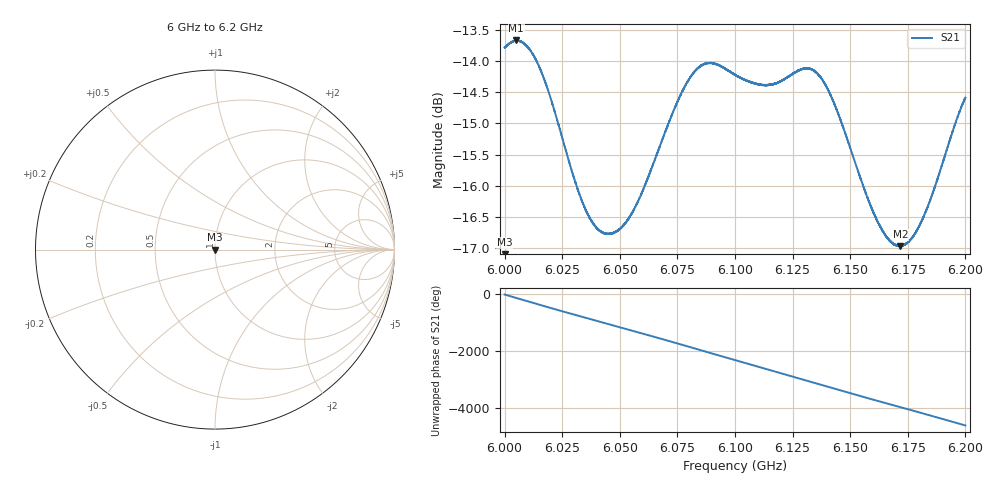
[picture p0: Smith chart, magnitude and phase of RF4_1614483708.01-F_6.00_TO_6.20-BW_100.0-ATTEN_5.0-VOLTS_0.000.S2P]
!Keysight Technologies,E5063A,MY54502693,A.05.04
!Date: Sat Feb 27 20:42:07 2021
!Data & Calibration Information:
!Freq	S11:NONE(--)	S21:NONE(--)	S12:NONE(--)	S22:NONE(--)
# Hz S RI R 50
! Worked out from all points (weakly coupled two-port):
!   10000 points, 6 GHz to 6.2 GHz, reference 50 ohm
!   highest |S21| = -13.67 dB at 6.005 GHz (marker M1); lowest = -17.0 dB at 6.1718 GHz (marker M2)
!   lowest |S11| = - dB at 6 GHz (marker M3), VSWR 1.00, Z = 50 + j0 ohm
!   |S11| at or under -10 dB: start of sweep to end of sweep
!   S12 and S22 are empty: the file has one direction only
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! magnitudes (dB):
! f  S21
! 6 GHz  -13.8
! 6.005 GHz  -13.7
! 6.0105 GHz  -13.8
! 6.0157 GHz  -14.2
! 6.0333 GHz  -16.2
! 6.0406 GHz  -16.7
! 6.0485 GHz  -16.7
! 6.0563 GHz  -16.4
! 6.0667 GHz  -15.4
! 6.0761 GHz  -14.6
! 6.0832 GHz  -14.1
! 6.0902 GHz  -14.0
! 6.1 GHz  -14.2
! 6.1139 GHz  -14.4
! 6.1334 GHz  -14.1
! 6.1417 GHz  -14.6
! 6.1586 GHz  -16.3
! 6.1667 GHz  -16.9
! 6.1718 GHz  -17.0
! 6.1766 GHz  -16.8
! 6.1816 GHz  -16.5
! 6.2 GHz  -14.6
